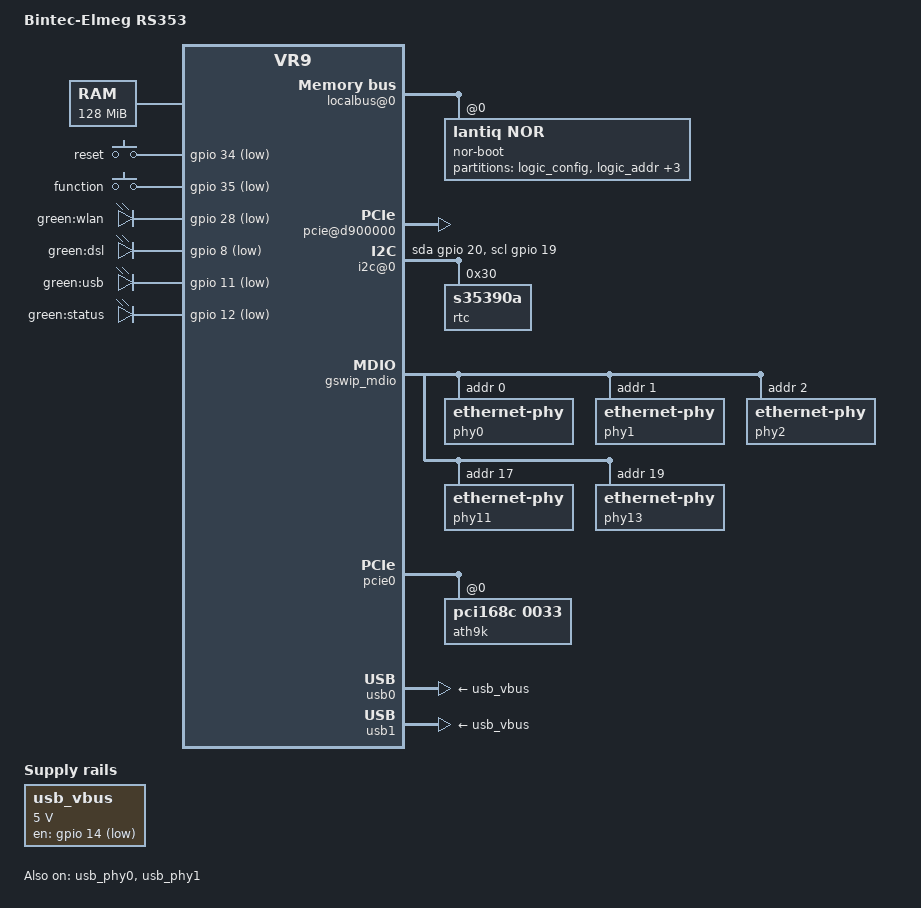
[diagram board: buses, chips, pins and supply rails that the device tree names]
#include "vr9.dtsi"

#include <dt-bindings/input/input.h>
#include <dt-bindings/mips/lantiq_rcu_gphy.h>

/ {
	compatible = "bintec,rs353", "lantiq,xway", "lantiq,vr9";
	model = "Bintec-Elmeg RS353";

	chosen {
		bootargs = "console=ttyLTQ0,115200";
	};

	aliases {
		led-running = &status;
		led-boot = &status;
		led-failsafe = &status;
		led-upgrade = &status;
		led-wifi = &wlan;
		led-dsl = &dsl;
	};

	memory@0 {
		device_type = "memory";
		reg = <0x0 0x8000000>;
	};

	fpi@10000000 {
		localbus@0 {
			nor-boot@0 {
				compatible = "lantiq,nor";
				bank-width = <2>;
				reg = <0 0x0 0x2000000>;
				#address-cells = <1>;
				#size-cells = <1>;
				lantiq,ebu_swap_check;

				partitions {
					compatible = "fixed-partitions";
					#address-cells = <1>;
					#size-cells = <1>;

					boardconfig: partition@0 {
						label = "logic_config";
						reg = <0x0 0x20000>;
						read-only;
					};

					partition@0x20000 {
						label = "logic_addr";
						reg = <0x20000 0x20000>;
						read-only;
					};

					partition@0x40000 {
						label = "bootmonitor";
						reg = <0x40000 0x20000>;
						read-only;
					};

					partition@0x80000 {
						label = "flash_config";
						reg = <0x80000 0x40000>;
						read-only;
					};

					partition@0xc0000 {
						label = "firmware";
						reg = <0xc0000 0x1F40000>;
					};
				};
			};
		};

		ifxhcd@E101000 {
			status = "okay";
		};

		ifxhcd@E106000 {
			status = "okay";
		};

		pcie@d900000 {
			status = "okay";
			gpio-reset = <&gpio 18 GPIO_ACTIVE_HIGH>;
		};
	};

	i2c@0 {
		compatible = "i2c-gpio";
		sda-gpios = <&gpio 20 (GPIO_ACTIVE_HIGH|GPIO_OPEN_DRAIN)>;
		scl-gpios = <&gpio 19 (GPIO_ACTIVE_HIGH|GPIO_OPEN_DRAIN)>;
		i2c-gpio,delay-us = <2>;	/* ~100 kHz */

		#address-cells = <1>;
		#size-cells = <0>;
		rtc@30 {
			compatible = "s35390a";
			reg = <0x30>;
		};
	};

	gpio-keys-polled {
		compatible = "gpio-keys-polled";
		#address-cells = <1>;
		#size-cells = <0>;
		poll-interval = <100>;

		reset {
			label = "reset";
			gpios = <&gpio 34 GPIO_ACTIVE_LOW>;
			linux,code = <0x198>; /*RESET*/
		};
		function {
			label = "function";
			gpios = <&gpio 35 GPIO_ACTIVE_LOW>;
			linux,code = <0x100>; /*BTN_1*/
		};
	};

	leds: leds {
		compatible = "gpio-leds";

		wlan: wlan {
			label = "green:wlan";
			gpios = <&gpio 28 GPIO_ACTIVE_LOW>;
		};

		dsl: dsl {
			label = "green:dsl";
			gpios = <&gpio 8 GPIO_ACTIVE_LOW>;
		};

		usb: usb {
			label = "green:usb";
			gpios = <&gpio 11 GPIO_ACTIVE_LOW>;
			trigger-sources = <&ehci_port1>, <&ehci_port2>;
			linux,default-trigger = "usbport";
		};

		status: status {
			label = "green:status";
			gpios = <&gpio 12 GPIO_ACTIVE_LOW>;
		};
	};

	usb_vbus: regulator-usb-vbus {
		compatible = "regulator-fixed";

		regulator-name = "USB_VBUS";

		regulator-min-microvolt = <5000000>;
		regulator-max-microvolt = <5000000>;
		/* State reversed to avoid issue with kernel 4.14.132 */
		gpio = <&gpio 14 GPIO_ACTIVE_LOW>;
		enable-active-low;
	};
};

&eth0 {
        nvmem-cells = <&macaddr_boardconfig_428>;
        nvmem-cell-names = "mac-address";
};

&gphy0 {
        lantiq,gphy-mode = <GPHY_MODE_GE>;
        resets = <&reset0 31 30>, <&reset1 7 7>;
};

&gphy1 {
        lantiq,gphy-mode = <GPHY_MODE_GE>;
        resets = <&reset0 29 28>, <&reset1 6 6>;
};

&gpio {
	pinctrl-names = "default";
	pinctrl-0 = <&state_default>;

	state_default: pinmux {
		i2c {
			lantiq,pins = "io19", "io20"; /* port i2c */
			lantiq,open-drain;
			lantiq,pull = <2>;
		};
	};
};

&gswip {
	pinctrl-0 = <&mdio_pins>;
	pinctrl-names = "default";
};

&gswip_mdio {
	phy0: ethernet-phy@0 {
		reg = <0x0>;
		lantiq,led0h = <0x20>;
		lantiq,led0l = <0x00>;
		lantiq,led1h = <0x40>;
		lantiq,led1l = <0x00>;
		lantiq,led2h = <0x70>;
		lantiq,led2l = <0x03>;
	};
	phy1: ethernet-phy@1 {
		reg = <0x1>;
		lantiq,led0h = <0x20>;
		lantiq,led0l = <0x00>;
		lantiq,led1h = <0x40>;
		lantiq,led1l = <0x00>;
		lantiq,led2h = <0x70>;
		lantiq,led2l = <0x03>;
	};
	phy2: ethernet-phy@2 {
		reg = <0x2>;
		lantiq,led0h = <0x20>;
		lantiq,led0l = <0x00>;
		lantiq,led1h = <0x40>;
		lantiq,led1l = <0x00>;
		lantiq,led2h = <0x70>;
		lantiq,led2l = <0x03>;
	};
	phy11: ethernet-phy@11 {
		reg = <0x11>;
		lantiq,led0h = <0x20>;
		lantiq,led0l = <0x00>;
		lantiq,led1h = <0x40>;
		lantiq,led1l = <0x00>;
		lantiq,led2h = <0x70>;
		lantiq,led2l = <0x03>;
	};
	phy13: ethernet-phy@13 {
		reg = <0x13>;
		lantiq,led0h = <0x20>;
		lantiq,led0l = <0x00>;
		lantiq,led1h = <0x40>;
		lantiq,led1l = <0x00>;
		lantiq,led2h = <0x70>;
		lantiq,led2l = <0x03>;
	};
};

&gswip_ports {
	port@1 {
		reg = <1>;
		label = "lan3";
		phy-mode = "rgmii";
		phy-handle = <&phy0>;
	};
	port@0 {
		reg = <0>;
		label = "lan4";
		phy-mode = "rgmii";
		phy-handle = <&phy1>;
	};
	port@3 {
		reg = <5>;
		label = "lan5";
		phy-mode = "rgmii";
		phy-handle = <&phy2>;
	};
	port@4 {
		reg = <4>;
		label = "lan1";
		phy-mode = "internal";
		phy-handle = <&phy13>;
	};
	port@5 {
		reg = <2>;
		label = "lan2";
		phy-mode = "internal";
		phy-handle = <&phy11>;
	};
};

&pcie0 {
	pcie@0 {
		reg = <0 0 0 0 0>;
		#interrupt-cells = <1>;
		#size-cells = <2>;
		#address-cells = <3>;
		device_type = "pci";

		ath9k: wifi@168c,0033 {
			compatible = "pci168c,0033";
			reg = <0 0 0 0 0>;
			nvmem-cells = <&macaddr_boardconfig_428>;
			nvmem-cell-names = "mac-address";
			mac-address-increment = <9>;
		};
	};
};

&usb_phy0 {
	status = "okay";
};

&usb_phy1 {
	status = "okay";
};

&usb0 {
	status = "okay";
	vbus-supply = <&usb_vbus>;
};

&usb1 {
	status = "okay";
	vbus-supply = <&usb_vbus>;
};

&boardconfig {
        compatible = "nvmem-cells";
        #address-cells = <1>;
        #size-cells = <1>;

        macaddr_boardconfig_428: macaddr@428 {
                reg = <0x428 0x6>;
        };
};
